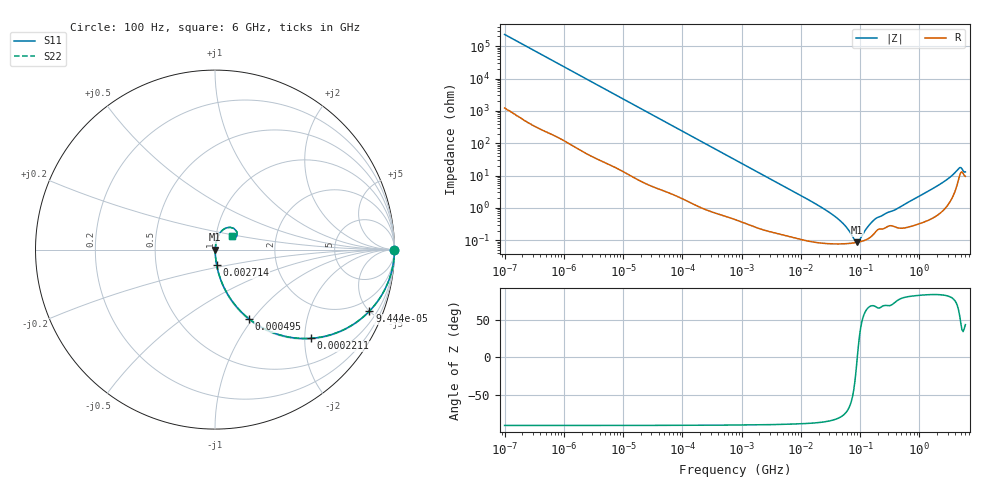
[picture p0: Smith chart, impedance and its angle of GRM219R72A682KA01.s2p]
!Murata Part Number: GRM219R72A682KA01
!These Parameters are Measured in Series Mode Connection
!Data Generated on Mar 30, 2021
!  o--ll--o
!Port1  Port2
!  o------o
!Operation Temp=25[degC], DC Bias Voltage=0[V]
!Freq. Start=100[Hz] Stop=6[GHz] 401[Steps]
# Hz S RI R 50
!Freq.(Hz) S11(Real) S11(Imag) S21(Real) S21(Imag) S12(Real) S12(Imag) S22(Real) S22(Imag)
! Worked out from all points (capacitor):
!   401 points, 100 Hz to 6 GHz, reference 50 ohm
!   read as one part in series: C = 6.88 nF near 109 Hz
!   lowest |Z| = 85.9 mohm at 89.18 MHz (marker M1)
!   series resonance near 89.81 MHz, so ESL is about 460 pH
!   S11 on the Smith chart (normalised r, x): 100 Hz: open; 94.44 kHz: 1.04, -5.01; 221.1 kHz: 1.02, -2.15; 495 kHz: 1.01, -0.96; 2.714 MHz: 1.00, -0.18; 6 GHz: 1.19, +0.18
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100  1 -0.000433  2.5e-06 0.000433  2.5e-06 0.000433  1 -0.000433
2008  0.9999 -0.00861  0.000117 0.00861  0.000117 0.00861  0.9999 -0.00861
12592  0.9968 -0.0535  0.00317 0.0535  0.00317 0.0535  0.9968 -0.0535
40335  0.9704 -0.1661  0.0296 0.1661  0.0296 0.1661  0.9704 -0.1661
94437  0.8603 -0.3426  0.1397 0.3426  0.1397 0.3426  0.8603 -0.3426
221108  0.535 -0.4943  0.465 0.4943  0.465 0.4943  0.535 -0.4943
495019  0.191 -0.3871  0.809 0.3871  0.809 0.3871  0.191 -0.3871
774597  0.0903 -0.2796  0.9097 0.2796  0.9097 0.2796  0.0903 -0.2796
2713602  0.00973 -0.0879  0.9903 0.0879  0.9903 0.0879  0.00973 -0.0879
1.555665e7  0.00113 -0.0153  0.9989 0.0153  0.9989 0.0153  0.00113 -0.0153
4.556224e7  0.000788 -0.00404  0.9992 0.00404  0.9992 0.00404  0.000788 -0.00404
5.960426e7  0.000791 -0.00233  0.9992 0.00233  0.9992 0.00233  0.000791 -0.00233
8.154455e7  0.000834 -0.000536  0.9992 0.000536  0.9992 0.000536  0.000834 -0.000536
8.918374e7  0.000857 -3.81e-05  0.9991 3.81e-05  0.9991 3.81e-05  0.000857 -3.81e-05
9.753859e7  0.000888 0.000462  0.9991 -0.000462  0.9991 -0.000462  0.000888 0.000462
1.275994e8  0.00105 0.00202  0.999 -0.00202  0.999 -0.00202  0.00105 0.00202
1.669249e8  0.0015 0.00374  0.9985 -0.00374  0.9985 -0.00374  0.0015 0.00374
3.124326e8  0.00283 0.00698  0.9972 -0.00698  0.9972 -0.00698  0.00283 0.00698
2.048624e9  0.00832 0.0479  0.9917 -0.0479  0.9917 -0.0479  0.00832 0.0479
3.505958e9  0.0271 0.0917  0.9729 -0.0917  0.9729 -0.0917  0.0271 0.0917
4.586474e9  0.0856 0.124  0.9144 -0.124  0.9144 -0.124  0.0856 0.124
6e9  0.0924 0.0738  0.9076 -0.0738  0.9076 -0.0738  0.0924 0.0738
